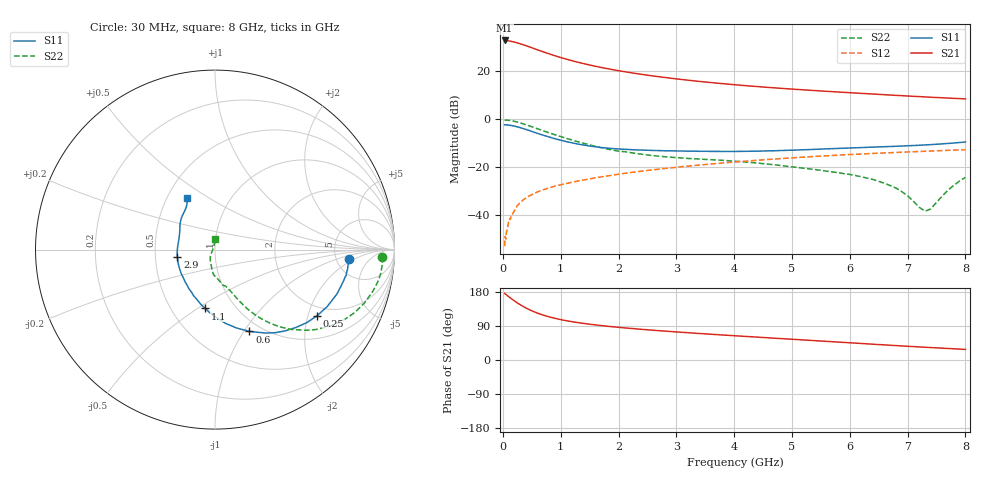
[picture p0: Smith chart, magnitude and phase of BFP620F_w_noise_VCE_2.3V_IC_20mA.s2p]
! Infineon Technologies  Discrete & RF Semiconductors
! BFP620F
! VCE =  2.3 V,  IC =  20 mA
! Common Emitter S-Parameters:  Dec 2014
# GHz  S  MA  R  50
!  f  S11  S21  S12  S22
! GHz  MAG  ANG  MAG  ANG  MAG  ANG  MAG  ANG
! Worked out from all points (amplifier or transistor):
!   95 points, 30 MHz to 8 GHz, reference 50 ohm
!   highest |S21| = 32.7 dB at 30 MHz (marker M1)
!   |S21| within 3 dB of that: start of sweep to 495.4 MHz
!   unconditionally stable (mu >= 1): 2.823 GHz to end of sweep
!   at 300 MHz: K = 0.35, MSG = 33.1 dB, |S12| = -35.0 dB
!   at 3.3 GHz: K = 1.02, MAG = 16.9 dB, |S12| = -19.5 dB
!   at 8 GHz: K = 1.07, MAG = 9.0 dB, |S12| = -12.9 dB
!   lowest NFmin = 0.84 dB at 450 MHz
!   S11 on the Smith chart (normalised r, x): 30 MHz: 6.52, -1.58; 250 MHz: 1.68, -2.29; 600 MHz: 0.88, -1.06; 1.1 GHz: 0.73, -0.54; 2.9 GHz: 0.65, -0.06; 8 GHz: 0.63, +0.41
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0.03  0.7473 -4.1  42.93 175.7  0.0022 39.6  0.9323 -2.5
0.08  0.7448 -11.0  42.37 169.7  0.0052 72.5  0.9337 -7.8
0.14  0.7251 -19.1  41.16 162.6  0.0094 69.0  0.9128 -14.0
0.2  0.7016 -26.8  39.64 156.0  0.0121 69.7  0.8838 -19.7
0.25  0.6778 -32.9  38.2 150.7  0.0154 69.7  0.8541 -24.2
0.3  0.6529 -38.6  36.64 145.9  0.0178 69.6  0.8206 -28.3
0.4  0.5972 -49.4  33.42 137.2  0.0224 66.6  0.7493 -35.4
0.5  0.5441 -58.7  30.25 129.9  0.0261 65.1  0.6812 -41.3
0.6  0.4946 -67.2  27.35 123.6  0.0298 63.5  0.6166 -46.2
0.7  0.4525 -74.7  24.81 118.3  0.0331 62.6  0.5597 -50.2
0.8  0.4163 -81.6  22.55 113.9  0.0361 61.9  0.5082 -53.4
0.9  0.3833 -87.9  20.6 110.0  0.0393 61.6  0.4635 -56.2
1.1  0.3323 -99.4  17.45 103.6  0.0447 61.0  0.3891 -60.6
1.4  0.2833 -114.8  14.09 96.5  0.0529 60.8  0.307 -65.3
2  0.2337 -140.8  10.06 86.2  0.0697 59.7  0.2108 -74.0
2.7  0.2166 -163.3  7.521 77.4  0.0889 57.5  0.1656 -84.4
2.9  0.2143 -168.4  7.01 75.2  0.0943 56.7  0.1578 -86.8
4.1  0.2085 166.3  5.015 63.1  0.1275 51.3  0.128 -95.5
5.4  0.2301 148.2  3.866 51.0  0.1637 43.9  0.0872 -104.9
6.7  0.2637 132.9  3.124 38.9  0.1957 35.5  0.0404 -126.8
7.3  0.2841 124.6  2.853 33.7  0.2098 31.9  0.0118 167.1
8  0.3271 118.2  2.596 27.9  0.2265 27.3  0.0598 88.2
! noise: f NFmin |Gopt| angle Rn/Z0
0.45  0.84  0.05  2  0.21
0.9  0.9  0.04  6  0.18
1.5  0.94  0.04  8  0.15
1.8  0.96  0.04  9  0.15
1.9  0.97  0.01  28  0.15
2.4  1.01  0.01  88  0.15
3.5  1.08  0.04  -178  0.15
5.5  1.22  0.15  230  0.1
6  1.25  0.15  253  0.14
